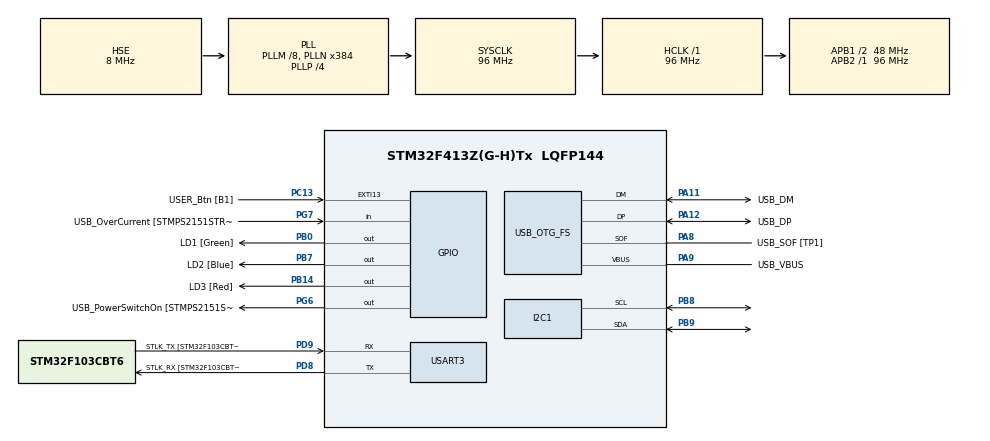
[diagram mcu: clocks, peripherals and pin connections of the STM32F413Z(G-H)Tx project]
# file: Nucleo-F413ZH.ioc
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Mcu.Family=STM32F4
Mcu.Name=STM32F413Z(G-H)Tx
Mcu.Package=LQFP144
NVIC.PriorityGroup=NVIC_PRIORITYGROUP_4
PA10.GPIO_Label=USB_ID
PA10.Signal=USB_OTG_FS_ID
PA11.GPIO_Label=USB_DM
PA11.Mode=Device_Only
PA11.Signal=USB_OTG_FS_DM
PA12.GPIO_Label=USB_DP
PA12.Mode=Device_Only
PA12.Signal=USB_OTG_FS_DP
PA13.GPIO_Label=TMS
PA13.Mode=Serial_Wire
PA13.Signal=SYS_JTMS-SWDIO
PA14.GPIO_Label=TCK
PA14.Mode=Serial_Wire
PA14.Signal=SYS_JTCK-SWCLK
PA8.GPIO_Label=USB_SOF [TP1]
PA8.Mode=Activate_SOF_FS
PA8.Signal=USB_OTG_FS_SOF
PA9.GPIO_Label=USB_VBUS
PA9.Mode=Activate_VBUS
PA9.Signal=USB_OTG_FS_VBUS
PB0.GPIO_Label=LD1 [Green]
PB0.Signal=GPIO_Output
PB14.GPIO_Label=LD3 [Red]
PB14.Signal=GPIO_Output
PB3.GPIO_Label=SWO
PB3.Signal=SYS_JTDO-SWO
PB7.GPIO_Label=LD2 [Blue]
PB7.Signal=GPIO_Output
PB8.Mode=I2C
PB8.Signal=I2C1_SCL
PB9.Mode=I2C
PB9.Signal=I2C1_SDA
PC13.GPIO_Label=USER_Btn [B1]
PC13.Signal=GPXTI13
PC14-OSC32_IN.Mode=LSE-External-Oscillator
PC14-OSC32_IN.Signal=RCC_OSC32_IN
PC15-OSC32_OUT.Mode=LSE-External-Oscillator
PC15-OSC32_OUT.Signal=RCC_OSC32_OUT
PD8.GPIO_Label=STLK_RX [STM32F103CBT6_PA3]
PD8.Mode=Asynchronous
PD8.Signal=USART3_TX
PD9.GPIO_Label=STLK_TX [STM32F103CBT6_PA2]
PD9.Mode=Asynchronous
PD9.Signal=USART3_RX
PG6.GPIO_Label=USB_PowerSwitchOn [STMPS2151STR_EN]
PG6.Signal=GPIO_Output
PG7.GPIO_Label=USB_OverCurrent [STMPS2151STR_FAULT]
PG7.Signal=GPIO_Input
PH0\ -\ OSC_IN.GPIO_Label=MCO
PH0\ -\ OSC_IN.Mode=HSE-External-Clock-Source
PH0\ -\ OSC_IN.Signal=RCC_OSC_IN
PH1\ -\ OSC_OUT.Mode=HSE-External-Clock-Source
PH1\ -\ OSC_OUT.Signal=RCC_OSC_OUT
ProjectManager.HeapSize=0x200
ProjectManager.StackSize=0x400
ProjectManager.TargetToolchain=STM32CubeIDE
RCC.48MHZClocksFreq_Value=24000000
RCC.AHBFreq_Value=96000000
RCC.APB1CLKDivider=RCC_HCLK_DIV2
RCC.APB1Freq_Value=48000000
RCC.APB1TimFreq_Value=96000000
RCC.APB2Freq_Value=96000000
RCC.APB2TimFreq_Value=96000000
RCC.CortexFreq_Value=96000000
RCC.HCLKFreq_Value=96000000
RCC.HSE_VALUE=8000000
RCC.HSI_VALUE=16000000
RCC.PLLM=8
RCC.PLLMUL=RCC_PLL_MUL9
RCC.PLLN=384
RCC.PLLP=RCC_PLLP_DIV4
RCC.PLLQ=8
RCC.PRESCALERUSB=RCC_USBCLKSOURCE_PLL_DIV1_5
RCC.SYSCLKFreq_VALUE=96000000
RCC.SYSCLKSource=RCC_SYSCLKSOURCE_PLLCLK
RCC.SYSCLKSourceVirtual=RCC_SYSCLKSOURCE_PLLCLK
RCC.USBFreq_Value=48000000
RCC.VCOOutputFreq_Value=384000000
USART3.VirtualMode=VM_ASYNC
USB_OTG_FS.VirtualMode=Device_Only
board=NUCLEO-F413ZH

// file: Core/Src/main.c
/* USER CODE BEGIN Header */
/**
  ******************************************************************************
  * @file           : main.c
  * @brief          : Main program body
  ******************************************************************************
  * @attention
  *
  * Copyright (c) 2022 STMicroelectronics.
  * All rights reserved.
  *
  * This software is licensed under terms that can be found in the LICENSE file
  * in the root directory of this software component.
  * If no LICENSE file comes with this software, it is provided AS-IS.
  *
  ******************************************************************************
  */
/* USER CODE END Header */
#include "main.h"

I2C_HandleTypeDef hi2c1;

UART_HandleTypeDef huart3;

PCD_HandleTypeDef hpcd_USB_OTG_FS;

/* USER CODE BEGIN PV */
uint8_t obcAddress = 87;
uint8_t ttcAddress = 90;
uint8_t epsAddress = 93;
uint8_t adsbAddress = 95;
uint8_t loraAddress = 97;
/* USER CODE END PV */

void SystemClock_Config(void);
static void MX_GPIO_Init(void);
static void MX_USART3_UART_Init(void);
static void MX_USB_OTG_FS_PCD_Init(void);
static void MX_I2C1_Init(void);

/* USER CODE BEGIN 0 */
char strReceived[128] = "";
uint8_t receivedBuffer[10]= {0};
uint8_t lenReceivedBuffer = sizeof(receivedBuffer);

void send_uart(char *string){
	uint8_t len = strlen(string);
	HAL_UART_Transmit(&huart3, (uint8_t*)string, len, 2000);
}

void convert_string(){
	for(int i = 0; i<lenReceivedBuffer; i++){
		sprintf(&strReceived[i], "%d", receivedBuffer[i]);
	}
	send_uart(strReceived);
}
/* USER CODE END 0 */

int main(void)
{

  /* MCU Configuration--------------------------------------------------------*/

  /* Reset of all peripherals, Initializes the Flash interface and the Systick. */
  HAL_Init();

  /* Configure the system clock */
  SystemClock_Config();

  /* Initialize all configured peripherals */
  MX_GPIO_Init();
  MX_USART3_UART_Init();
  MX_USB_OTG_FS_PCD_Init();
  MX_I2C1_Init();
  /* USER CODE BEGIN 2 */
  send_uart("Receiving Data via I2C...\r\n");
          if(HAL_I2C_Slave_Receive(&hi2c1, receivedBuffer, lenReceivedBuffer, 50000) == HAL_OK){
        	  send_uart("Data received successfully!!\r\n");
          }else{
        	  send_uart("Data Receive Failed!!\r\n");
          }

          send_uart("Data : '");
          convert_string();
          send_uart("'");
          send_uart("\r\n");
          send_uart("------------------\r\n\n");
  /* USER CODE END 2 */

  /* Infinite loop */
  while (1)
  {

  }
}

void SystemClock_Config(void)
{
  RCC_OscInitTypeDef RCC_OscInitStruct = {0};
  RCC_ClkInitTypeDef RCC_ClkInitStruct = {0};

  /** Configure the main internal regulator output voltage
  */
  __HAL_RCC_PWR_CLK_ENABLE();
  __HAL_PWR_VOLTAGESCALING_CONFIG(PWR_REGULATOR_VOLTAGE_SCALE1);

  /** Initializes the RCC Oscillators according to the specified parameters
  * in the RCC_OscInitTypeDef structure.
  */
  RCC_OscInitStruct.OscillatorType = RCC_OSCILLATORTYPE_HSE;
  RCC_OscInitStruct.HSEState = RCC_HSE_BYPASS;
  RCC_OscInitStruct.PLL.PLLState = RCC_PLL_ON;
  RCC_OscInitStruct.PLL.PLLSource = RCC_PLLSOURCE_HSE;
  RCC_OscInitStruct.PLL.PLLM = 8;
  RCC_OscInitStruct.PLL.PLLN = 384;
  RCC_OscInitStruct.PLL.PLLP = RCC_PLLP_DIV4;
  RCC_OscInitStruct.PLL.PLLQ = 8;
  RCC_OscInitStruct.PLL.PLLR = 2;
  if (HAL_RCC_OscConfig(&RCC_OscInitStruct) != HAL_OK)
  {
    Error_Handler();
  }

  /** Initializes the CPU, AHB and APB buses clocks
  */
  RCC_ClkInitStruct.ClockType = RCC_CLOCKTYPE_HCLK|RCC_CLOCKTYPE_SYSCLK
                              |RCC_CLOCKTYPE_PCLK1|RCC_CLOCKTYPE_PCLK2;
  RCC_ClkInitStruct.SYSCLKSource = RCC_SYSCLKSOURCE_PLLCLK;
  RCC_ClkInitStruct.AHBCLKDivider = RCC_SYSCLK_DIV1;
  RCC_ClkInitStruct.APB1CLKDivider = RCC_HCLK_DIV2;
  RCC_ClkInitStruct.APB2CLKDivider = RCC_HCLK_DIV1;

  if (HAL_RCC_ClockConfig(&RCC_ClkInitStruct, FLASH_LATENCY_3) != HAL_OK)
  {
    Error_Handler();
  }
}

static void MX_I2C1_Init(void)
{

  hi2c1.Instance = I2C1;
  hi2c1.Init.ClockSpeed = 100000;
  hi2c1.Init.DutyCycle = I2C_DUTYCYCLE_2;
  hi2c1.Init.OwnAddress1 = 93;
  hi2c1.Init.AddressingMode = I2C_ADDRESSINGMODE_7BIT;
  hi2c1.Init.DualAddressMode = I2C_DUALADDRESS_DISABLE;
  hi2c1.Init.OwnAddress2 = 0;
  hi2c1.Init.GeneralCallMode = I2C_GENERALCALL_DISABLE;
  hi2c1.Init.NoStretchMode = I2C_NOSTRETCH_DISABLE;
  if (HAL_I2C_Init(&hi2c1) != HAL_OK)
  {
    Error_Handler();
  }

}

static void MX_USART3_UART_Init(void)
{

  huart3.Instance = USART3;
  huart3.Init.BaudRate = 115200;
  huart3.Init.WordLength = UART_WORDLENGTH_8B;
  huart3.Init.StopBits = UART_STOPBITS_1;
  huart3.Init.Parity = UART_PARITY_NONE;
  huart3.Init.Mode = UART_MODE_TX_RX;
  huart3.Init.HwFlowCtl = UART_HWCONTROL_NONE;
  huart3.Init.OverSampling = UART_OVERSAMPLING_16;
  if (HAL_UART_Init(&huart3) != HAL_OK)
  {
    Error_Handler();
  }

}

static void MX_USB_OTG_FS_PCD_Init(void)
{

  hpcd_USB_OTG_FS.Instance = USB_OTG_FS;
  hpcd_USB_OTG_FS.Init.dev_endpoints = 6;
  hpcd_USB_OTG_FS.Init.speed = PCD_SPEED_FULL;
  hpcd_USB_OTG_FS.Init.dma_enable = DISABLE;
  hpcd_USB_OTG_FS.Init.phy_itface = PCD_PHY_EMBEDDED;
  hpcd_USB_OTG_FS.Init.Sof_enable = ENABLE;
  hpcd_USB_OTG_FS.Init.low_power_enable = DISABLE;
  hpcd_USB_OTG_FS.Init.lpm_enable = DISABLE;
  hpcd_USB_OTG_FS.Init.battery_charging_enable = ENABLE;
  hpcd_USB_OTG_FS.Init.vbus_sensing_enable = ENABLE;
  hpcd_USB_OTG_FS.Init.use_dedicated_ep1 = DISABLE;
  if (HAL_PCD_Init(&hpcd_USB_OTG_FS) != HAL_OK)
  {
    Error_Handler();
  }

}

static void MX_GPIO_Init(void)
{
  GPIO_InitTypeDef GPIO_InitStruct = {0};

  /* GPIO Ports Clock Enable */
  __HAL_RCC_GPIOC_CLK_ENABLE();
  __HAL_RCC_GPIOH_CLK_ENABLE();
  __HAL_RCC_GPIOB_CLK_ENABLE();
  __HAL_RCC_GPIOD_CLK_ENABLE();
  __HAL_RCC_GPIOG_CLK_ENABLE();
  __HAL_RCC_GPIOA_CLK_ENABLE();

  /*Configure GPIO pin Output Level */
  HAL_GPIO_WritePin(GPIOB, LD1_Pin|LD3_Pin|LD2_Pin, GPIO_PIN_RESET);

  /*Configure GPIO pin Output Level */
  HAL_GPIO_WritePin(USB_PowerSwitchOn_GPIO_Port, USB_PowerSwitchOn_Pin, GPIO_PIN_RESET);

  /*Configure GPIO pin : USER_Btn_Pin */
  GPIO_InitStruct.Pin = USER_Btn_Pin;
  GPIO_InitStruct.Mode = GPIO_MODE_IT_RISING;
  GPIO_InitStruct.Pull = GPIO_NOPULL;
  HAL_GPIO_Init(USER_Btn_GPIO_Port, &GPIO_InitStruct);

  /*Configure GPIO pins : LD1_Pin LD3_Pin LD2_Pin */
  GPIO_InitStruct.Pin = LD1_Pin|LD3_Pin|LD2_Pin;
  GPIO_InitStruct.Mode = GPIO_MODE_OUTPUT_PP;
  GPIO_InitStruct.Pull = GPIO_NOPULL;
  GPIO_InitStruct.Speed = GPIO_SPEED_FREQ_LOW;
  HAL_GPIO_Init(GPIOB, &GPIO_InitStruct);

  /*Configure GPIO pin : USB_PowerSwitchOn_Pin */
  GPIO_InitStruct.Pin = USB_PowerSwitchOn_Pin;
  GPIO_InitStruct.Mode = GPIO_MODE_OUTPUT_PP;
  GPIO_InitStruct.Pull = GPIO_NOPULL;
  GPIO_InitStruct.Speed = GPIO_SPEED_FREQ_LOW;
  HAL_GPIO_Init(USB_PowerSwitchOn_GPIO_Port, &GPIO_InitStruct);

  /*Configure GPIO pin : USB_OverCurrent_Pin */
  GPIO_InitStruct.Pin = USB_OverCurrent_Pin;
  GPIO_InitStruct.Mode = GPIO_MODE_INPUT;
  GPIO_InitStruct.Pull = GPIO_NOPULL;
  HAL_GPIO_Init(USB_OverCurrent_GPIO_Port, &GPIO_InitStruct);

}

void Error_Handler(void)
{
  __disable_irq();
  while (1)
  {
  }
}
